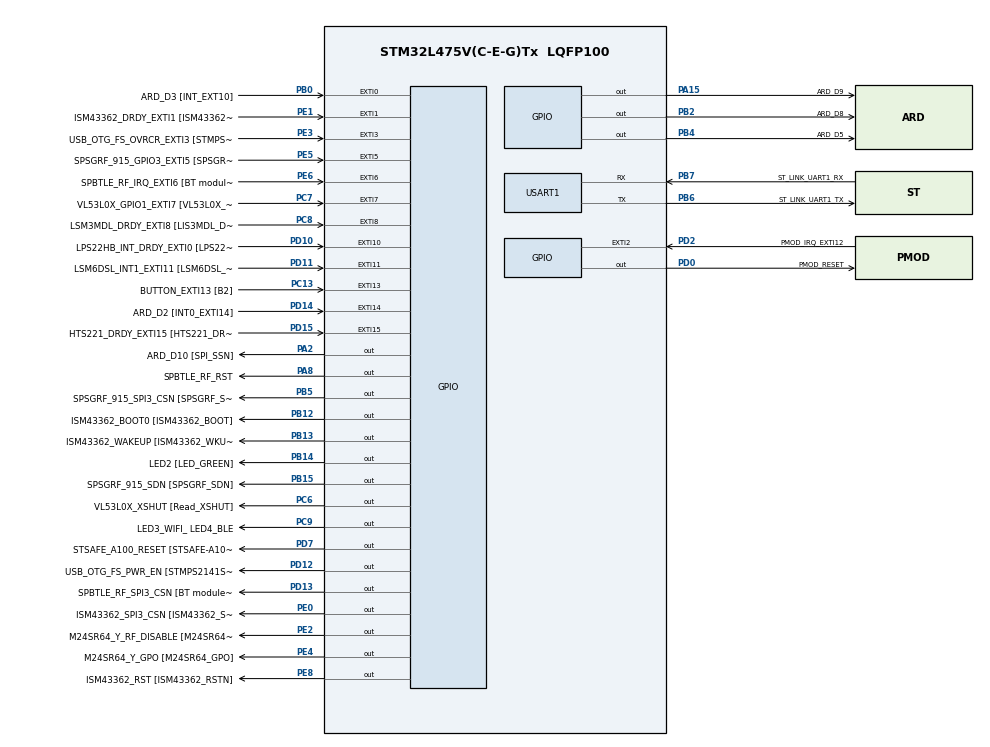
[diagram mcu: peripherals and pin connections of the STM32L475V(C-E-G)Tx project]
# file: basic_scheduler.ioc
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Mcu.Family=STM32L4
Mcu.Name=STM32L475V(C-E-G)Tx
Mcu.Package=LQFP100
NVIC.EXTI15_10_IRQn=true\:0\:0\:false\:false\:true\:true\:true
NVIC.EXTI9_5_IRQn=true\:0\:0\:false\:false\:true\:true\:true
NVIC.PriorityGroup=NVIC_PRIORITYGROUP_4
NVIC.TIM1_UP_TIM16_IRQn=true\:0\:0\:false\:false\:true\:false\:true
NVIC.TimeBase=TIM1_UP_TIM16_IRQn
NVIC.TimeBaseIP=TIM1
NVIC.USART1_IRQn=true\:0\:0\:false\:false\:true\:true\:true
PA0.GPIO_Label=ARD_D1 [UART4_TX]
PA0.Signal=UART4_TX
PA1.GPIO_Label=ARD_D0 [UART4_RX]
PA1.Signal=UART4_RX
PA10.GPIO_Label=USB_OTG_FS_ID
PA10.Signal=USB_OTG_FS_ID
PA11.GPIO_Label=USB_OTG_FS_DM
PA11.Signal=USB_OTG_FS_DM
PA12.GPIO_Label=USB_OTG_FS_DP
PA12.Signal=USB_OTG_FS_DP
PA13\ (JTMS-SWDIO).GPIO_Label=SYS_JTMS_SWDIO
PA13\ (JTMS-SWDIO).Mode=Serial_Wire
PA13\ (JTMS-SWDIO).Signal=SYS_JTMS-SWDIO
PA14\ (JTCK-SWCLK).GPIO_Label=SYS_JTCK_SWCLK
PA14\ (JTCK-SWCLK).Mode=Serial_Wire
PA14\ (JTCK-SWCLK).Signal=SYS_JTCK-SWCLK
PA15\ (JTDI).GPIO_Label=ARD_D9
PA15\ (JTDI).Signal=GPIO_Output
PA2.GPIO_Label=ARD_D10 [SPI_SSN]
PA2.Signal=GPIO_Output
PA3.GPIO_Label=ARD_D4
PA3.Signal=S_TIM2_CH4
PA4.GPIO_Label=ARD_D7
PA4.Signal=ADCx_IN9
PA5.GPIO_Label=ARD_D13 [SPI1_SCK]
PA5.Signal=SPI1_SCK
PA6.GPIO_Label=ARD_D12 [SPI1_MISO]
PA6.Signal=SPI1_MISO
PA7.GPIO_Label=ARD_D11 [SPI1_MOSI]
PA7.Signal=SPI1_MOSI
PA8.GPIO_Label=SPBTLE_RF_RST
PA8.Signal=GPIO_Output
PA9.GPIO_Label=USB_OTG_FS_VBUS [STMPS2141STR_OUT]
PA9.Signal=USB_OTG_FS_VBUS
PB0.GPIO_Label=ARD_D3 [INT_EXT10]
PB0.Signal=GPXTI0
PB1.GPIO_Label=ARD_D6 [ADC1_IN6]
PB1.Signal=ADCx_IN16
PB10.GPIO_Label=INTERNAL_I2C2_SCL [VL53L0X_SCL]
PB10.Signal=I2C2_SCL
PB11.GPIO_Label=INTERNAL_I2C2_SDA [VL53L0X_SDA]
PB11.Signal=I2C2_SDA
PB12.GPIO_Label=ISM43362_BOOT0 [ISM43362_BOOT]
PB12.Signal=GPIO_Output
PB13.GPIO_Label=ISM43362_WAKEUP [ISM43362_WKUP]
PB13.Signal=GPIO_Output
PB14.GPIO_Label=LED2 [LED_GREEN]
PB14.Signal=GPIO_Output
PB15.GPIO_Label=SPSGRF_915_SDN [SPSGRF_SDN]
PB15.Signal=GPIO_Output
PB2.GPIO_Label=ARD_D8
PB2.Signal=GPIO_Output
PB3\ (JTDO-TRACESWO).GPIO_Label=SYS_JTD0_SWO
PB3\ (JTDO-TRACESWO).Signal=SYS_JTDO-SWO
PB4\ (NJTRST).GPIO_Label=ARD_D5
PB4\ (NJTRST).Signal=GPIO_Output
PB5.GPIO_Label=SPSGRF_915_SPI3_CSN [SPSGRF_SPI_CS]
PB5.PinState=GPIO_PIN_SET
PB5.Signal=GPIO_Output
PB6.GPIO_Label=ST_LINK_UART1_TX
PB6.Mode=Asynchronous
PB6.Signal=USART1_TX
PB7.GPIO_Label=ST_LINK_UART1_RX
PB7.Mode=Asynchronous
PB7.Signal=USART1_RX
PB8.GPIO_Label=ARD_D15 [I2C1_SCL]
PB8.Signal=I2C1_SCL
PB9.GPIO_Label=ARD_D14 [I2C1_SDA]
PB9.Signal=I2C1_SDA
PC0.GPIO_Label=ARD_A5 [ADC]
PC0.Signal=ADCx_IN1
PC1.GPIO_Label=ARD_A4 [ADC]
PC1.Signal=ADCx_IN2
PC10.GPIO_Label=INTERNAL_SPI3_SCK [BT module_SPI_SCLK]
PC10.Signal=SPI3_SCK
PC11.GPIO_Label=INTERNAL_SPI3_MISO [BT module_SPI_MISO]
PC11.Signal=SPI3_MISO
PC12.GPIO_Label=INTERNAL_SPI3_MOSI [BT module_SPI_MOSI]
PC12.Signal=SPI3_MOSI
PC13.GPIO_Label=BUTTON_EXTI13 [B2]
PC13.GPIO_ModeDefaultEXTI=GPIO_MODE_IT_FALLING
PC13.Signal=GPXTI13
PC14-OSC32_IN\ (PC14).Mode=LSE-External-Oscillator
PC14-OSC32_IN\ (PC14).Signal=RCC_OSC32_IN
PC15-OSC32_OUT\ (PC15).Mode=LSE-External-Oscillator
PC15-OSC32_OUT\ (PC15).Signal=RCC_OSC32_OUT
PC2.GPIO_Label=ARD_A3 [ADC]
PC2.Signal=ADCx_IN3
PC3.GPIO_Label=ARD_A2 [ADC]
PC3.Signal=ADCx_IN4
PC4.GPIO_Label=ARD_A1 [ADC]
PC4.Signal=ADCx_IN13
PC5.GPIO_Label=ARD_A0 [ADC]
PC5.Signal=ADCx_IN14
PC6.GPIO_Label=VL53L0X_XSHUT [Read_XSHUT]
PC6.Signal=GPIO_Output
PC7.GPIO_Label=VL53L0X_GPIO1_EXTI7 [VL53L0X_GPIO1]
PC7.Signal=GPXTI7
PC8.GPIO_Label=LSM3MDL_DRDY_EXTI8 [LIS3MDL_DRDY]
PC8.Signal=GPXTI8
PC9.GPIO_Label=LED3_WIFI_ LED4_BLE
PC9.Signal=GPIO_Output
PD0.GPIO_Label=PMOD_RESET
PD0.Signal=GPIO_Output
PD1.GPIO_Label=PMOD_SPI2_SCK
PD1.Signal=SPI2_SCK
PD10.GPIO_Label=LPS22HB_INT_DRDY_EXTI0 [LPS22HB_INT_DRDY] 
PD10.Signal=GPXTI10
PD11.GPIO_Label=LSM6DSL_INT1_EXTI11 [LSM6DSL_INT1]
PD11.Signal=GPXTI11
PD12.GPIO_Label=USB_OTG_FS_PWR_EN [STMPS2141STR_EN]
PD12.Signal=GPIO_Output
PD13.GPIO_Label=SPBTLE_RF_SPI3_CSN [BT module_SPI_CS]
PD13.PinState=GPIO_PIN_SET
PD13.Signal=GPIO_Output
PD14.GPIO_Label=ARD_D2 [INT0_EXTI14]
PD14.Signal=GPXTI14
PD15.GPIO_Label=HTS221_DRDY_EXTI15 [HTS221_DRDY]
PD15.Signal=GPXTI15
PD2.GPIO_Label=PMOD_IRQ_EXTI12
PD2.Signal=GPXTI2
PD3.GPIO_Label=PMOD_UART2_CTS
PD3.Signal=USART2_CTS
PD4.GPIO_Label=PMOD_UART2_RTS
PD4.Signal=USART2_RTS
PD5.GPIO_Label=PMOD_UART2_TX
PD5.Signal=USART2_TX
PD6.GPIO_Label=PMOD_UART2_RX
PD6.Signal=USART2_RX
PD7.GPIO_Label=STSAFE_A100_RESET [STSAFE-A100_RESET]
PD7.Signal=GPIO_Output
PD8.GPIO_Label=INTERNAL_UART3_TX [ISM43362_RX]
PD8.Signal=USART3_TX
PD9.GPIO_Label=INTERNAL_UART3_RX [ISM43362_TX]
PD9.Signal=USART3_RX
PE0.GPIO_Label=ISM43362_SPI3_CSN [ISM43362_SSN]
PE0.PinState=GPIO_PIN_SET
PE0.Signal=GPIO_Output
PE1.GPIO_Label=ISM43362_DRDY_EXTI1 [ISM43362_DATARDY]
PE1.Signal=GPXTI1
PE10.GPIO_Label=QUADSPI_CLK [MX25R6435F_SCLK]
PE10.Signal=QUADSPI_CLK
PE11.GPIO_Label=QUADSPI_NCS [MX25R6435F_SCLK]
PE11.Signal=QUADSPI_NCS
PE12.GPIO_Label=OQUADSPI_BK1_IO0 [MX25R6435F_IO0]
PE12.Signal=QUADSPI_BK1_IO0
PE13.GPIO_Label=QUADSPI_BK1_IO1 [MX25R6435F_IO1]
PE13.Signal=QUADSPI_BK1_IO1
PE14.GPIO_Label=QUAD_SPI_BK1_IO2 [MX25R6435F_IO2]
PE14.Signal=QUADSPI_BK1_IO2
PE15.GPIO_Label=QUAD_SPI_BK1_IO3 [MX25R6435F_IO3]
PE15.Signal=QUADSPI_BK1_IO3
PE2.GPIO_Label=M24SR64_Y_RF_DISABLE [M24SR64_RFDIS]
PE2.Signal=GPIO_Output
PE3.GPIO_Label=USB_OTG_FS_OVRCR_EXTI3 [STMPS2141STR_FAULT]
PE3.Signal=GPXTI3
PE4.GPIO_Label=M24SR64_Y_GPO [M24SR64_GPO]
PE4.Signal=GPIO_Output
PE5.GPIO_Label=SPSGRF_915_GPIO3_EXTI5 [SPSGRF_GPIO_3]
PE5.Signal=GPXTI5
PE6.GPIO_Label=SPBTLE_RF_IRQ_EXTI6 [BT module_SPI_IRQ]
PE6.Signal=GPXTI6
PE7.GPIO_Label=DFSDM1_DATIN2 [MP34DT01_DOUT]
PE7.Signal=S_DATAIN2DFSDM1
PE8.GPIO_Label=ISM43362_RST [ISM43362_RSTN]
PE8.Signal=GPIO_Output
PE9.GPIO_Label=DFSDM1_CKOUT [MP34DT01_CLK]
PE9.Signal=S_CKOUTDFSDM1
ProjectManager.HeapSize=0x200
ProjectManager.StackSize=0x400
ProjectManager.TargetToolchain=STM32CubeIDE
RCC.ADCFreq_Value=48000000
RCC.AHBFreq_Value=80000000
RCC.APB1Freq_Value=80000000
RCC.APB1TimFreq_Value=80000000
RCC.APB2Freq_Value=80000000
RCC.APB2TimFreq_Value=80000000
RCC.CortexFreq_Value=80000000
RCC.HCLKFreq_Value=80000000
RCC.HSE_VALUE=8000000
RCC.HSI_VALUE=16000000
RCC.MSI_VALUE=4000000
RCC.PLLN=40
RCC.PLLSAI1N=24
RCC.SYSCLKFreq_VALUE=80000000
RCC.SYSCLKSource=RCC_SYSCLKSOURCE_PLLCLK
RCC.USBFreq_Value=48000000
RCC.VCOOutputFreq_Value=160000000
SH.ADCx_IN1.0=ADC1_IN1
SH.ADCx_IN13.0=ADC1_IN13
SH.ADCx_IN14.0=ADC1_IN14
SH.ADCx_IN16.0=ADC1_IN16
SH.ADCx_IN2.0=ADC1_IN2
SH.ADCx_IN3.0=ADC1_IN3
SH.ADCx_IN4.0=ADC1_IN4
SH.ADCx_IN9.0=ADC1_IN9
SH.S_CKOUTDFSDM1.0=DFSDM1_CKOUT
SH.S_CKOUTDFSDM1.1=DFSDM1_CKOUT
SH.S_DATAIN2DFSDM1.0=DFSDM1_DATIN2
SH.S_TIM2_CH4.0=TIM2_CH4
USART1.VirtualMode-Asynchronous=VM_ASYNC
VP_SYS_VS_tim1.Mode=TIM1
board=B-L475E-IOT01A

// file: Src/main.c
/* USER CODE BEGIN Header */
/**
  ******************************************************************************
  * @file           : main.c
  * @brief          : Main program body
  ******************************************************************************
  * @attention
  *
  * <h2><center>&copy; Copyright (c) 2019 STMicroelectronics.
  * All rights reserved.</center></h2>
  *
  * This software component is licensed by ST under BSD 3-Clause license,
  * the "License"; You may not use this file except in compliance with the
  * License. You may obtain a copy of the License at:
  *                        opensource.org/licenses/BSD-3-Clause
  *
  ******************************************************************************
  */
/* USER CODE END Header */

#include "main.h"

/* USER CODE BEGIN Includes */
#include <stdio.h>
#include "scheduler.h"
#include "task1.h"
#include "task2.h"
#include "task3.h"
/* USER CODE END Includes */

void SystemClock_Config(void);
static void MX_GPIO_Init(void);
static void MX_USART1_UART_Init(void);

/* USER CODE BEGIN 0 */
int __io_putchar(int ch){
	LL_USART_TransmitData8(USART1, ch);
	while (LL_USART_IsActiveFlag_TXE(USART1) == 0);
	LL_USART_ClearFlag_TC(USART1);
	return 0;
}
/* USER CODE END 0 */

int main(void)
{

  /* MCU Configuration--------------------------------------------------------*/

  /* Reset of all peripherals, Initializes the Flash interface and the Systick. */
  HAL_Init();

  /* Configure the system clock */
  SystemClock_Config();

  /* Initialize all configured peripherals */
  MX_GPIO_Init();
  MX_USART1_UART_Init();
  /* USER CODE BEGIN 2 */
  LL_USART_RequestTxDataFlush(USART1);
  printf("\r\nBasic Scheduler Booting....\n\r");
  Scheduler_Init();
  Task1_Init();
  Task2_Init();
  Task3_Init();
  /* USER CODE END 2 */

  /* Infinite loop */
  /* USER CODE BEGIN WHILE */

  Scheduler_Start();
  while (1)
  {

    /* USER CODE END WHILE */

  }
}

void SystemClock_Config(void)
{
  LL_FLASH_SetLatency(LL_FLASH_LATENCY_4);

  if(LL_FLASH_GetLatency() != LL_FLASH_LATENCY_4)
  {
  Error_Handler();
  }
  LL_PWR_SetRegulVoltageScaling(LL_PWR_REGU_VOLTAGE_SCALE1);
  LL_RCC_MSI_Enable();

   /* Wait till MSI is ready */
  while(LL_RCC_MSI_IsReady() != 1)
  {

  }
  LL_RCC_MSI_EnablePLLMode();
  LL_RCC_MSI_EnableRangeSelection();
  LL_RCC_MSI_SetRange(LL_RCC_MSIRANGE_6);
  LL_RCC_MSI_SetCalibTrimming(0);
  LL_PWR_EnableBkUpAccess();
  LL_RCC_LSE_SetDriveCapability(LL_RCC_LSEDRIVE_LOW);
  LL_RCC_LSE_Enable();

   /* Wait till LSE is ready */
  while(LL_RCC_LSE_IsReady() != 1)
  {

  }
  LL_RCC_PLL_ConfigDomain_SYS(LL_RCC_PLLSOURCE_MSI, LL_RCC_PLLM_DIV_1, 40, LL_RCC_PLLR_DIV_2);
  LL_RCC_PLL_EnableDomain_SYS();
  LL_RCC_PLL_Enable();

   /* Wait till PLL is ready */
  while(LL_RCC_PLL_IsReady() != 1)
  {

  }
  LL_RCC_SetSysClkSource(LL_RCC_SYS_CLKSOURCE_PLL);

   /* Wait till System clock is ready */
  while(LL_RCC_GetSysClkSource() != LL_RCC_SYS_CLKSOURCE_STATUS_PLL)
  {

  }
  LL_RCC_SetAHBPrescaler(LL_RCC_SYSCLK_DIV_1);
  LL_RCC_SetAPB1Prescaler(LL_RCC_APB1_DIV_1);
  LL_RCC_SetAPB2Prescaler(LL_RCC_APB2_DIV_1);
  LL_SetSystemCoreClock(80000000);
  LL_RCC_SetUSARTClockSource(LL_RCC_USART1_CLKSOURCE_PCLK2);
}

static void MX_USART1_UART_Init(void)
{

  LL_USART_InitTypeDef USART_InitStruct = {0};

  LL_GPIO_InitTypeDef GPIO_InitStruct = {0};

  /* Peripheral clock enable */
  LL_APB2_GRP1_EnableClock(LL_APB2_GRP1_PERIPH_USART1);

  LL_AHB2_GRP1_EnableClock(LL_AHB2_GRP1_PERIPH_GPIOB);
  /**USART1 GPIO Configuration
  PB6   ------> USART1_TX
  PB7   ------> USART1_RX
  */
  GPIO_InitStruct.Pin = ST_LINK_UART1_TX_Pin|ST_LINK_UART1_RX_Pin;
  GPIO_InitStruct.Mode = LL_GPIO_MODE_ALTERNATE;
  GPIO_InitStruct.Speed = LL_GPIO_SPEED_FREQ_VERY_HIGH;
  GPIO_InitStruct.OutputType = LL_GPIO_OUTPUT_PUSHPULL;
  GPIO_InitStruct.Pull = LL_GPIO_PULL_NO;
  GPIO_InitStruct.Alternate = LL_GPIO_AF_7;
  LL_GPIO_Init(GPIOB, &GPIO_InitStruct);

  /* USART1 interrupt Init */
  NVIC_SetPriority(USART1_IRQn, NVIC_EncodePriority(NVIC_GetPriorityGrouping(),0, 0));
  NVIC_EnableIRQ(USART1_IRQn);

  USART_InitStruct.BaudRate = 115200;
  USART_InitStruct.DataWidth = LL_USART_DATAWIDTH_8B;
  USART_InitStruct.StopBits = LL_USART_STOPBITS_1;
  USART_InitStruct.Parity = LL_USART_PARITY_NONE;
  USART_InitStruct.TransferDirection = LL_USART_DIRECTION_TX_RX;
  USART_InitStruct.HardwareFlowControl = LL_USART_HWCONTROL_NONE;
  USART_InitStruct.OverSampling = LL_USART_OVERSAMPLING_16;
  LL_USART_Init(USART1, &USART_InitStruct);
  LL_USART_ConfigAsyncMode(USART1);
  LL_USART_Enable(USART1);

}

static void MX_GPIO_Init(void)
{
  LL_EXTI_InitTypeDef EXTI_InitStruct = {0};
  LL_GPIO_InitTypeDef GPIO_InitStruct = {0};

  /* GPIO Ports Clock Enable */
  LL_AHB2_GRP1_EnableClock(LL_AHB2_GRP1_PERIPH_GPIOE);
  LL_AHB2_GRP1_EnableClock(LL_AHB2_GRP1_PERIPH_GPIOC);
  LL_AHB2_GRP1_EnableClock(LL_AHB2_GRP1_PERIPH_GPIOA);
  LL_AHB2_GRP1_EnableClock(LL_AHB2_GRP1_PERIPH_GPIOB);
  LL_AHB2_GRP1_EnableClock(LL_AHB2_GRP1_PERIPH_GPIOD);

  /**/
  LL_GPIO_ResetOutputPin(GPIOE, M24SR64_Y_RF_DISABLE_Pin|M24SR64_Y_GPO_Pin|ISM43362_RST_Pin);

  /**/
  LL_GPIO_ResetOutputPin(GPIOA, ARD_D10_Pin|SPBTLE_RF_RST_Pin|ARD_D9_Pin);

  /**/
  LL_GPIO_ResetOutputPin(GPIOB, ARD_D8_Pin|ISM43362_BOOT0_Pin|ISM43362_WAKEUP_Pin|LED2_Pin
                          |SPSGRF_915_SDN_Pin|ARD_D5_Pin);

  /**/
  LL_GPIO_ResetOutputPin(GPIOD, USB_OTG_FS_PWR_EN_Pin|PMOD_RESET_Pin|STSAFE_A100_RESET_Pin);

  /**/
  LL_GPIO_ResetOutputPin(GPIOC, VL53L0X_XSHUT_Pin|LED3_WIFI__LED4_BLE_Pin);

  /**/
  LL_GPIO_SetOutputPin(SPBTLE_RF_SPI3_CSN_GPIO_Port, SPBTLE_RF_SPI3_CSN_Pin);

  /**/
  LL_GPIO_SetOutputPin(SPSGRF_915_SPI3_CSN_GPIO_Port, SPSGRF_915_SPI3_CSN_Pin);

  /**/
  LL_GPIO_SetOutputPin(ISM43362_SPI3_CSN_GPIO_Port, ISM43362_SPI3_CSN_Pin);

  /**/
  GPIO_InitStruct.Pin = M24SR64_Y_RF_DISABLE_Pin|M24SR64_Y_GPO_Pin|ISM43362_RST_Pin|ISM43362_SPI3_CSN_Pin;
  GPIO_InitStruct.Mode = LL_GPIO_MODE_OUTPUT;
  GPIO_InitStruct.Speed = LL_GPIO_SPEED_FREQ_LOW;
  GPIO_InitStruct.OutputType = LL_GPIO_OUTPUT_PUSHPULL;
  GPIO_InitStruct.Pull = LL_GPIO_PULL_NO;
  LL_GPIO_Init(GPIOE, &GPIO_InitStruct);

  /**/
  GPIO_InitStruct.Pin = ARD_A5_Pin|ARD_A4_Pin|ARD_A3_Pin|ARD_A2_Pin
                          |ARD_A1_Pin|ARD_A0_Pin;
  GPIO_InitStruct.Mode = LL_GPIO_MODE_ANALOG;
  GPIO_InitStruct.Pull = LL_GPIO_PULL_NO;
  LL_GPIO_Init(GPIOC, &GPIO_InitStruct);

  /**/
  GPIO_InitStruct.Pin = ARD_D1_Pin|ARD_D0_Pin;
  GPIO_InitStruct.Mode = LL_GPIO_MODE_ALTERNATE;
  GPIO_InitStruct.Speed = LL_GPIO_SPEED_FREQ_VERY_HIGH;
  GPIO_InitStruct.OutputType = LL_GPIO_OUTPUT_PUSHPULL;
  GPIO_InitStruct.Pull = LL_GPIO_PULL_NO;
  GPIO_InitStruct.Alternate = LL_GPIO_AF_8;
  LL_GPIO_Init(GPIOA, &GPIO_InitStruct);

  /**/
  GPIO_InitStruct.Pin = ARD_D10_Pin|SPBTLE_RF_RST_Pin|ARD_D9_Pin;
  GPIO_InitStruct.Mode = LL_GPIO_MODE_OUTPUT;
  GPIO_InitStruct.Speed = LL_GPIO_SPEED_FREQ_LOW;
  GPIO_InitStruct.OutputType = LL_GPIO_OUTPUT_PUSHPULL;
  GPIO_InitStruct.Pull = LL_GPIO_PULL_NO;
  LL_GPIO_Init(GPIOA, &GPIO_InitStruct);

  /**/
  GPIO_InitStruct.Pin = ARD_D4_Pin;
  GPIO_InitStruct.Mode = LL_GPIO_MODE_ALTERNATE;
  GPIO_InitStruct.Speed = LL_GPIO_SPEED_FREQ_LOW;
  GPIO_InitStruct.OutputType = LL_GPIO_OUTPUT_PUSHPULL;
  GPIO_InitStruct.Pull = LL_GPIO_PULL_NO;
  GPIO_InitStruct.Alternate = LL_GPIO_AF_1;
  LL_GPIO_Init(ARD_D4_GPIO_Port, &GPIO_InitStruct);

  /**/
  GPIO_InitStruct.Pin = ARD_D7_Pin;
  GPIO_InitStruct.Mode = LL_GPIO_MODE_ANALOG;
  GPIO_InitStruct.Pull = LL_GPIO_PULL_NO;
  LL_GPIO_Init(ARD_D7_GPIO_Port, &GPIO_InitStruct);

  /**/
  GPIO_InitStruct.Pin = ARD_D13_Pin|ARD_D12_Pin|ARD_D11_Pin;
  GPIO_InitStruct.Mode = LL_GPIO_MODE_ALTERNATE;
  GPIO_InitStruct.Speed = LL_GPIO_SPEED_FREQ_VERY_HIGH;
  GPIO_InitStruct.OutputType = LL_GPIO_OUTPUT_PUSHPULL;
  GPIO_InitStruct.Pull = LL_GPIO_PULL_NO;
  GPIO_InitStruct.Alternate = LL_GPIO_AF_5;
  LL_GPIO_Init(GPIOA, &GPIO_InitStruct);

  /**/
  GPIO_InitStruct.Pin = ARD_D6_Pin;
  GPIO_InitStruct.Mode = LL_GPIO_MODE_ANALOG;
  GPIO_InitStruct.Pull = LL_GPIO_PULL_NO;
  LL_GPIO_Init(ARD_D6_GPIO_Port, &GPIO_InitStruct);

  /**/
  GPIO_InitStruct.Pin = ARD_D8_Pin|ISM43362_BOOT0_Pin|ISM43362_WAKEUP_Pin|LED2_Pin
                          |SPSGRF_915_SDN_Pin|ARD_D5_Pin|SPSGRF_915_SPI3_CSN_Pin;
  GPIO_InitStruct.Mode = LL_GPIO_MODE_OUTPUT;
  GPIO_InitStruct.Speed = LL_GPIO_SPEED_FREQ_LOW;
  GPIO_InitStruct.OutputType = LL_GPIO_OUTPUT_PUSHPULL;
  GPIO_InitStruct.Pull = LL_GPIO_PULL_NO;
  LL_GPIO_Init(GPIOB, &GPIO_InitStruct);

  /**/
  GPIO_InitStruct.Pin = DFSDM1_DATIN2_Pin|DFSDM1_CKOUT_Pin;
  GPIO_InitStruct.Mode = LL_GPIO_MODE_ALTERNATE;
  GPIO_InitStruct.Speed = LL_GPIO_SPEED_FREQ_LOW;
  GPIO_InitStruct.OutputType = LL_GPIO_OUTPUT_PUSHPULL;
  GPIO_InitStruct.Pull = LL_GPIO_PULL_NO;
  GPIO_InitStruct.Alternate = GPIO_AF6_DFSDM1;
  LL_GPIO_Init(GPIOE, &GPIO_InitStruct);

  /**/
  GPIO_InitStruct.Pin = QUADSPI_CLK_Pin|QUADSPI_NCS_Pin|OQUADSPI_BK1_IO0_Pin|QUADSPI_BK1_IO1_Pin
                          |QUAD_SPI_BK1_IO2_Pin|QUAD_SPI_BK1_IO3_Pin;
  GPIO_InitStruct.Mode = LL_GPIO_MODE_ALTERNATE;
  GPIO_InitStruct.Speed = LL_GPIO_SPEED_FREQ_VERY_HIGH;
  GPIO_InitStruct.OutputType = LL_GPIO_OUTPUT_PUSHPULL;
  GPIO_InitStruct.Pull = LL_GPIO_PULL_NO;
  GPIO_InitStruct.Alternate = LL_GPIO_AF_10;
  LL_GPIO_Init(GPIOE, &GPIO_InitStruct);

  /**/
  GPIO_InitStruct.Pin = INTERNAL_I2C2_SCL_Pin|INTERNAL_I2C2_SDA_Pin|ARD_D15_Pin|ARD_D14_Pin;
  GPIO_InitStruct.Mode = LL_GPIO_MODE_ALTERNATE;
  GPIO_InitStruct.Speed = LL_GPIO_SPEED_FREQ_VERY_HIGH;
  GPIO_InitStruct.OutputType = LL_GPIO_OUTPUT_OPENDRAIN;
  GPIO_InitStruct.Pull = LL_GPIO_PULL_UP;
  GPIO_InitStruct.Alternate = LL_GPIO_AF_4;
  LL_GPIO_Init(GPIOB, &GPIO_InitStruct);

  /**/
  GPIO_InitStruct.Pin = INTERNAL_UART3_TX_Pin|INTERNAL_UART3_RX_Pin|PMOD_UART2_CTS_Pin|PMOD_UART2_RTS_Pin
                          |PMOD_UART2_TX_Pin|PMOD_UART2_RX_Pin;
  GPIO_InitStruct.Mode = LL_GPIO_MODE_ALTERNATE;
  GPIO_InitStruct.Speed = LL_GPIO_SPEED_FREQ_VERY_HIGH;
  GPIO_InitStruct.OutputType = LL_GPIO_OUTPUT_PUSHPULL;
  GPIO_InitStruct.Pull = LL_GPIO_PULL_NO;
  GPIO_InitStruct.Alternate = LL_GPIO_AF_7;
  LL_GPIO_Init(GPIOD, &GPIO_InitStruct);

  /**/
  GPIO_InitStruct.Pin = USB_OTG_FS_PWR_EN_Pin|SPBTLE_RF_SPI3_CSN_Pin|PMOD_RESET_Pin|STSAFE_A100_RESET_Pin;
  GPIO_InitStruct.Mode = LL_GPIO_MODE_OUTPUT;
  GPIO_InitStruct.Speed = LL_GPIO_SPEED_FREQ_LOW;
  GPIO_InitStruct.OutputType = LL_GPIO_OUTPUT_PUSHPULL;
  GPIO_InitStruct.Pull = LL_GPIO_PULL_NO;
  LL_GPIO_Init(GPIOD, &GPIO_InitStruct);

  /**/
  GPIO_InitStruct.Pin = VL53L0X_XSHUT_Pin|LED3_WIFI__LED4_BLE_Pin;
  GPIO_InitStruct.Mode = LL_GPIO_MODE_OUTPUT;
  GPIO_InitStruct.Speed = LL_GPIO_SPEED_FREQ_LOW;
  GPIO_InitStruct.OutputType = LL_GPIO_OUTPUT_PUSHPULL;
  GPIO_InitStruct.Pull = LL_GPIO_PULL_NO;
  LL_GPIO_Init(GPIOC, &GPIO_InitStruct);

  /**/
  GPIO_InitStruct.Pin = USB_OTG_FS_VBUS_Pin;
  GPIO_InitStruct.Mode = LL_GPIO_MODE_INPUT;
  GPIO_InitStruct.Pull = LL_GPIO_PULL_NO;
  LL_GPIO_Init(USB_OTG_FS_VBUS_GPIO_Port, &GPIO_InitStruct);

  /**/
  GPIO_InitStruct.Pin = USB_OTG_FS_ID_Pin|USB_OTG_FS_DM_Pin|USB_OTG_FS_DP_Pin;
  GPIO_InitStruct.Mode = LL_GPIO_MODE_ALTERNATE;
  GPIO_InitStruct.Speed = LL_GPIO_SPEED_FREQ_VERY_HIGH;
  GPIO_InitStruct.OutputType = LL_GPIO_OUTPUT_PUSHPULL;
  GPIO_InitStruct.Pull = LL_GPIO_PULL_NO;
  GPIO_InitStruct.Alternate = LL_GPIO_AF_10;
  LL_GPIO_Init(GPIOA, &GPIO_InitStruct);

  /**/
  GPIO_InitStruct.Pin = INTERNAL_SPI3_SCK_Pin|INTERNAL_SPI3_MISO_Pin|INTERNAL_SPI3_MOSI_Pin;
  GPIO_InitStruct.Mode = LL_GPIO_MODE_ALTERNATE;
  GPIO_InitStruct.Speed = LL_GPIO_SPEED_FREQ_VERY_HIGH;
  GPIO_InitStruct.OutputType = LL_GPIO_OUTPUT_PUSHPULL;
  GPIO_InitStruct.Pull = LL_GPIO_PULL_NO;
  GPIO_InitStruct.Alternate = LL_GPIO_AF_6;
  LL_GPIO_Init(GPIOC, &GPIO_InitStruct);

  /**/
  GPIO_InitStruct.Pin = PMOD_SPI2_SCK_Pin;
  GPIO_InitStruct.Mode = LL_GPIO_MODE_ALTERNATE;
  GPIO_InitStruct.Speed = LL_GPIO_SPEED_FREQ_VERY_HIGH;
  GPIO_InitStruct.OutputType = LL_GPIO_OUTPUT_PUSHPULL;
  GPIO_InitStruct.Pull = LL_GPIO_PULL_NO;
  GPIO_InitStruct.Alternate = LL_GPIO_AF_5;
  LL_GPIO_Init(PMOD_SPI2_SCK_GPIO_Port, &GPIO_InitStruct);

  /**/
  LL_SYSCFG_SetEXTISource(LL_SYSCFG_EXTI_PORTE, LL_SYSCFG_EXTI_LINE3);

  /**/
  LL_SYSCFG_SetEXTISource(LL_SYSCFG_EXTI_PORTE, LL_SYSCFG_EXTI_LINE5);

  /**/
  LL_SYSCFG_SetEXTISource(LL_SYSCFG_EXTI_PORTE, LL_SYSCFG_EXTI_LINE6);

  /**/
  LL_SYSCFG_SetEXTISource(LL_SYSCFG_EXTI_PORTC, LL_SYSCFG_EXTI_LINE13);

  /**/
  LL_SYSCFG_SetEXTISource(LL_SYSCFG_EXTI_PORTB, LL_SYSCFG_EXTI_LINE0);

  /**/
  LL_SYSCFG_SetEXTISource(LL_SYSCFG_EXTI_PORTD, LL_SYSCFG_EXTI_LINE10);

  /**/
  LL_SYSCFG_SetEXTISource(LL_SYSCFG_EXTI_PORTD, LL_SYSCFG_EXTI_LINE11);

  /**/
  LL_SYSCFG_SetEXTISource(LL_SYSCFG_EXTI_PORTD, LL_SYSCFG_EXTI_LINE14);

  /**/
  LL_SYSCFG_SetEXTISource(LL_SYSCFG_EXTI_PORTD, LL_SYSCFG_EXTI_LINE15);

  /**/
  LL_SYSCFG_SetEXTISource(LL_SYSCFG_EXTI_PORTC, LL_SYSCFG_EXTI_LINE7);

  /**/
  LL_SYSCFG_SetEXTISource(LL_SYSCFG_EXTI_PORTC, LL_SYSCFG_EXTI_LINE8);

  /**/
  LL_SYSCFG_SetEXTISource(LL_SYSCFG_EXTI_PORTD, LL_SYSCFG_EXTI_LINE2);

  /**/
  LL_SYSCFG_SetEXTISource(LL_SYSCFG_EXTI_PORTE, LL_SYSCFG_EXTI_LINE1);

  /**/
  EXTI_InitStruct.Line_0_31 = LL_EXTI_LINE_3;
  EXTI_InitStruct.Line_32_63 = LL_EXTI_LINE_NONE;
  EXTI_InitStruct.LineCommand = ENABLE;
  EXTI_InitStruct.Mode = LL_EXTI_MODE_IT;
  EXTI_InitStruct.Trigger = LL_EXTI_TRIGGER_RISING;
  LL_EXTI_Init(&EXTI_InitStruct);

  /**/
  EXTI_InitStruct.Line_0_31 = LL_EXTI_LINE_5;
  EXTI_InitStruct.Line_32_63 = LL_EXTI_LINE_NONE;
  EXTI_InitStruct.LineCommand = ENABLE;
  EXTI_InitStruct.Mode = LL_EXTI_MODE_IT;
  EXTI_InitStruct.Trigger = LL_EXTI_TRIGGER_RISING;
  LL_EXTI_Init(&EXTI_InitStruct);

  /**/
  EXTI_InitStruct.Line_0_31 = LL_EXTI_LINE_6;
  EXTI_InitStruct.Line_32_63 = LL_EXTI_LINE_NONE;
  EXTI_InitStruct.LineCommand = ENABLE;
  EXTI_InitStruct.Mode = LL_EXTI_MODE_IT;
  EXTI_InitStruct.Trigger = LL_EXTI_TRIGGER_RISING;
  LL_EXTI_Init(&EXTI_InitStruct);

  /**/
  EXTI_InitStruct.Line_0_31 = LL_EXTI_LINE_13;
  EXTI_InitStruct.Line_32_63 = LL_EXTI_LINE_NONE;
  EXTI_InitStruct.LineCommand = ENABLE;
  EXTI_InitStruct.Mode = LL_EXTI_MODE_IT;
  EXTI_InitStruct.Trigger = LL_EXTI_TRIGGER_FALLING;
  LL_EXTI_Init(&EXTI_InitStruct);

  /**/
  EXTI_InitStruct.Line_0_31 = LL_EXTI_LINE_0;
  EXTI_InitStruct.Line_32_63 = LL_EXTI_LINE_NONE;
  EXTI_InitStruct.LineCommand = ENABLE;
  EXTI_InitStruct.Mode = LL_EXTI_MODE_IT;
  EXTI_InitStruct.Trigger = LL_EXTI_TRIGGER_RISING;
  LL_EXTI_Init(&EXTI_InitStruct);

  /**/
  EXTI_InitStruct.Line_0_31 = LL_EXTI_LINE_10;
  EXTI_InitStruct.Line_32_63 = LL_EXTI_LINE_NONE;
  EXTI_InitStruct.LineCommand = ENABLE;
  EXTI_InitStruct.Mode = LL_EXTI_MODE_IT;
  EXTI_InitStruct.Trigger = LL_EXTI_TRIGGER_RISING;
  LL_EXTI_Init(&EXTI_InitStruct);

  /**/
  EXTI_InitStruct.Line_0_31 = LL_EXTI_LINE_11;
  EXTI_InitStruct.Line_32_63 = LL_EXTI_LINE_NONE;
  EXTI_InitStruct.LineCommand = ENABLE;
  EXTI_InitStruct.Mode = LL_EXTI_MODE_IT;
  EXTI_InitStruct.Trigger = LL_EXTI_TRIGGER_RISING;
  LL_EXTI_Init(&EXTI_InitStruct);

  /**/
  EXTI_InitStruct.Line_0_31 = LL_EXTI_LINE_14;
  EXTI_InitStruct.Line_32_63 = LL_EXTI_LINE_NONE;
  EXTI_InitStruct.LineCommand = ENABLE;
  EXTI_InitStruct.Mode = LL_EXTI_MODE_IT;
  EXTI_InitStruct.Trigger = LL_EXTI_TRIGGER_RISING;
  LL_EXTI_Init(&EXTI_InitStruct);

  /**/
  EXTI_InitStruct.Line_0_31 = LL_EXTI_LINE_15;
  EXTI_InitStruct.Line_32_63 = LL_EXTI_LINE_NONE;
  EXTI_InitStruct.LineCommand = ENABLE;
  EXTI_InitStruct.Mode = LL_EXTI_MODE_IT;
  EXTI_InitStruct.Trigger = LL_EXTI_TRIGGER_RISING;
  LL_EXTI_Init(&EXTI_InitStruct);

  /**/
  EXTI_InitStruct.Line_0_31 = LL_EXTI_LINE_7;
  EXTI_InitStruct.Line_32_63 = LL_EXTI_LINE_NONE;
  EXTI_InitStruct.LineCommand = ENABLE;
  EXTI_InitStruct.Mode = LL_EXTI_MODE_IT;
  EXTI_InitStruct.Trigger = LL_EXTI_TRIGGER_RISING;
  LL_EXTI_Init(&EXTI_InitStruct);

  /**/
  EXTI_InitStruct.Line_0_31 = LL_EXTI_LINE_8;
  EXTI_InitStruct.Line_32_63 = LL_EXTI_LINE_NONE;
  EXTI_InitStruct.LineCommand = ENABLE;
  EXTI_InitStruct.Mode = LL_EXTI_MODE_IT;
  EXTI_InitStruct.Trigger = LL_EXTI_TRIGGER_RISING;
  LL_EXTI_Init(&EXTI_InitStruct);

  /**/
  EXTI_InitStruct.Line_0_31 = LL_EXTI_LINE_2;
  EXTI_InitStruct.Line_32_63 = LL_EXTI_LINE_NONE;
  EXTI_InitStruct.LineCommand = ENABLE;
  EXTI_InitStruct.Mode = LL_EXTI_MODE_IT;
  EXTI_InitStruct.Trigger = LL_EXTI_TRIGGER_RISING;
  LL_EXTI_Init(&EXTI_InitStruct);

  /**/
  EXTI_InitStruct.Line_0_31 = LL_EXTI_LINE_1;
  EXTI_InitStruct.Line_32_63 = LL_EXTI_LINE_NONE;
  EXTI_InitStruct.LineCommand = ENABLE;
  EXTI_InitStruct.Mode = LL_EXTI_MODE_IT;
  EXTI_InitStruct.Trigger = LL_EXTI_TRIGGER_RISING;
  LL_EXTI_Init(&EXTI_InitStruct);

  /**/
  LL_GPIO_SetPinPull(USB_OTG_FS_OVRCR_EXTI3_GPIO_Port, USB_OTG_FS_OVRCR_EXTI3_Pin, LL_GPIO_PULL_NO);

  /**/
  LL_GPIO_SetPinPull(SPSGRF_915_GPIO3_EXTI5_GPIO_Port, SPSGRF_915_GPIO3_EXTI5_Pin, LL_GPIO_PULL_NO);

  /**/
  LL_GPIO_SetPinPull(SPBTLE_RF_IRQ_EXTI6_GPIO_Port, SPBTLE_RF_IRQ_EXTI6_Pin, LL_GPIO_PULL_NO);

  /**/
  LL_GPIO_SetPinPull(BUTTON_EXTI13_GPIO_Port, BUTTON_EXTI13_Pin, LL_GPIO_PULL_NO);

  /**/
  LL_GPIO_SetPinPull(ARD_D3_GPIO_Port, ARD_D3_Pin, LL_GPIO_PULL_NO);

  /**/
  LL_GPIO_SetPinPull(LPS22HB_INT_DRDY_EXTI0_GPIO_Port, LPS22HB_INT_DRDY_EXTI0_Pin, LL_GPIO_PULL_NO);

  /**/
  LL_GPIO_SetPinPull(LSM6DSL_INT1_EXTI11_GPIO_Port, LSM6DSL_INT1_EXTI11_Pin, LL_GPIO_PULL_NO);

  /**/
  LL_GPIO_SetPinPull(ARD_D2_GPIO_Port, ARD_D2_Pin, LL_GPIO_PULL_NO);

  /**/
  LL_GPIO_SetPinPull(HTS221_DRDY_EXTI15_GPIO_Port, HTS221_DRDY_EXTI15_Pin, LL_GPIO_PULL_NO);

  /**/
  LL_GPIO_SetPinPull(VL53L0X_GPIO1_EXTI7_GPIO_Port, VL53L0X_GPIO1_EXTI7_Pin, LL_GPIO_PULL_NO);

  /**/
  LL_GPIO_SetPinPull(LSM3MDL_DRDY_EXTI8_GPIO_Port, LSM3MDL_DRDY_EXTI8_Pin, LL_GPIO_PULL_NO);

  /**/
  LL_GPIO_SetPinPull(PMOD_IRQ_EXTI12_GPIO_Port, PMOD_IRQ_EXTI12_Pin, LL_GPIO_PULL_NO);

  /**/
  LL_GPIO_SetPinPull(ISM43362_DRDY_EXTI1_GPIO_Port, ISM43362_DRDY_EXTI1_Pin, LL_GPIO_PULL_NO);

  /**/
  LL_GPIO_SetPinMode(USB_OTG_FS_OVRCR_EXTI3_GPIO_Port, USB_OTG_FS_OVRCR_EXTI3_Pin, LL_GPIO_MODE_INPUT);

  /**/
  LL_GPIO_SetPinMode(SPSGRF_915_GPIO3_EXTI5_GPIO_Port, SPSGRF_915_GPIO3_EXTI5_Pin, LL_GPIO_MODE_INPUT);

  /**/
  LL_GPIO_SetPinMode(SPBTLE_RF_IRQ_EXTI6_GPIO_Port, SPBTLE_RF_IRQ_EXTI6_Pin, LL_GPIO_MODE_INPUT);

  /**/
  LL_GPIO_SetPinMode(BUTTON_EXTI13_GPIO_Port, BUTTON_EXTI13_Pin, LL_GPIO_MODE_INPUT);

  /**/
  LL_GPIO_SetPinMode(ARD_D3_GPIO_Port, ARD_D3_Pin, LL_GPIO_MODE_INPUT);

  /**/
  LL_GPIO_SetPinMode(LPS22HB_INT_DRDY_EXTI0_GPIO_Port, LPS22HB_INT_DRDY_EXTI0_Pin, LL_GPIO_MODE_INPUT);

  /**/
  LL_GPIO_SetPinMode(LSM6DSL_INT1_EXTI11_GPIO_Port, LSM6DSL_INT1_EXTI11_Pin, LL_GPIO_MODE_INPUT);

  /**/
  LL_GPIO_SetPinMode(ARD_D2_GPIO_Port, ARD_D2_Pin, LL_GPIO_MODE_INPUT);

  /**/
  LL_GPIO_SetPinMode(HTS221_DRDY_EXTI15_GPIO_Port, HTS221_DRDY_EXTI15_Pin, LL_GPIO_MODE_INPUT);

  /**/
  LL_GPIO_SetPinMode(VL53L0X_GPIO1_EXTI7_GPIO_Port, VL53L0X_GPIO1_EXTI7_Pin, LL_GPIO_MODE_INPUT);

  /**/
  LL_GPIO_SetPinMode(LSM3MDL_DRDY_EXTI8_GPIO_Port, LSM3MDL_DRDY_EXTI8_Pin, LL_GPIO_MODE_INPUT);

  /**/
  LL_GPIO_SetPinMode(PMOD_IRQ_EXTI12_GPIO_Port, PMOD_IRQ_EXTI12_Pin, LL_GPIO_MODE_INPUT);

  /**/
  LL_GPIO_SetPinMode(ISM43362_DRDY_EXTI1_GPIO_Port, ISM43362_DRDY_EXTI1_Pin, LL_GPIO_MODE_INPUT);

  /**/
  LL_GPIO_EnablePinAnalogControl(GPIOC, ARD_A5_Pin|ARD_A4_Pin|ARD_A3_Pin|ARD_A2_Pin
                          |ARD_A1_Pin|ARD_A0_Pin);

  /**/
  LL_GPIO_EnablePinAnalogControl(ARD_D7_GPIO_Port, ARD_D7_Pin);

  /**/
  LL_GPIO_EnablePinAnalogControl(ARD_D6_GPIO_Port, ARD_D6_Pin);

  /* EXTI interrupt init*/
  NVIC_SetPriority(EXTI9_5_IRQn, NVIC_EncodePriority(NVIC_GetPriorityGrouping(),0, 0));
  NVIC_EnableIRQ(EXTI9_5_IRQn);
  NVIC_SetPriority(EXTI15_10_IRQn, NVIC_EncodePriority(NVIC_GetPriorityGrouping(),0, 0));
  NVIC_EnableIRQ(EXTI15_10_IRQn);

}

void HAL_TIM_PeriodElapsedCallback(TIM_HandleTypeDef *htim)
{
  if (htim->Instance == TIM1) {
    HAL_IncTick();
    //printf("Systick\r\n");
    if ((HAL_GetTick() % 10000) == 0){
    	Scheduler_SetTask(TASK1_SCHEDULE);
    }
  }
}

void Error_Handler(void)
{
}

/************************ (C) COPYRIGHT STMicroelectronics *****END OF FILE****/
